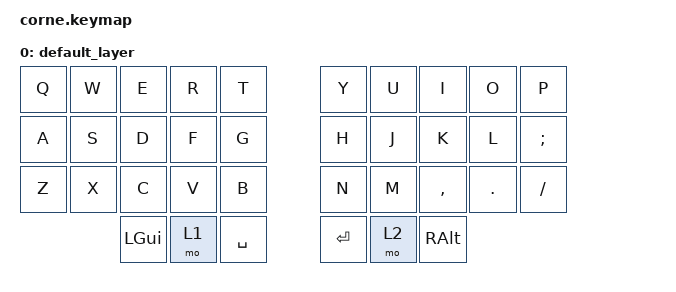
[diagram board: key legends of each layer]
/*
 * Copyright (c) 2020 The ZMK Contributors
 *
 * SPDX-License-Identifier: MIT
 */

#include <behaviors.dtsi>
#include <dt-bindings/zmk/keys.h>
#include <dt-bindings/zmk/bt.h>

/ {
        chosen {
        zmk,matrix_transform = &five_column_transform;
    };
    keymap {
                compatible = "zmk,keymap";

                default_layer {
// -----------------------------------------------------------------------------------------
// |  TAB |  Q  |  W  |  E  |  R  |  T  |   |  Y  |  U   |  I  |  O  |  P  | BKSP |
// | CTRL |  A  |  S  |  D  |  F  |  G  |   |  H  |  J   |  K  |  L  |  ;  |  '   |
// | SHFT |  Z  |  X  |  C  |  V  |  B  |   |  N  |  M   |  ,  |  .  |  /  | ESC  |
//                    | GUI | LWR | SPC |   | ENT | RSE  | ALT |
                        bindings = <
   &kp Q &kp W &kp E &kp R &kp T   &kp Y &kp U  &kp I     &kp O   &kp P    
   &kp A &kp S &kp D &kp F &kp G   &kp H &kp J  &kp K     &kp L   &kp SEMI 
   &kp Z &kp X &kp C &kp V &kp B   &kp N &kp M  &kp COMMA &kp DOT &kp FSLH 
                  &kp LGUI &mo 1 &kp SPACE   &kp RET &mo 2 &kp RALT
                        >;
                };
              
        };
};
